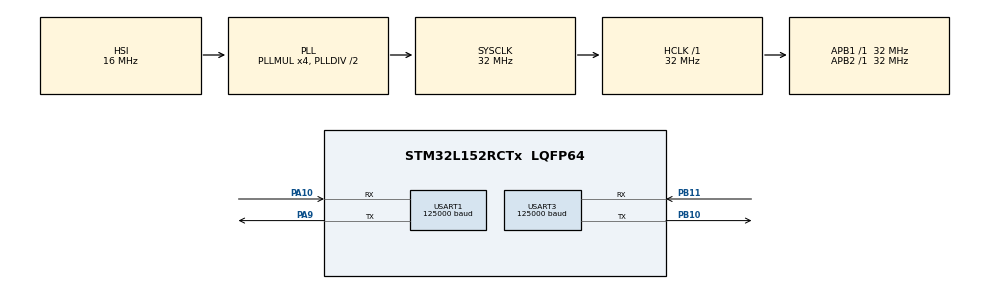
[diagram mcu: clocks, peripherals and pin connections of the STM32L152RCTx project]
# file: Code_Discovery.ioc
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ADC.Channel-0\#ChannelRegularConversion=ADC_CHANNEL_TEMPSENSOR
ADC.Channel-1\#ChannelRegularConversion=ADC_CHANNEL_VREFINT
ADC.ContinuousConvMode=ENABLE
ADC.DMAContinuousRequests=ENABLE
ADC.EOCSelection=ADC_EOC_SINGLE_CONV
ADC.NbrOfConversion=2
ADC.NbrOfConversionFlag=1
ADC.Rank-0\#ChannelRegularConversion=1
ADC.Rank-1\#ChannelRegularConversion=2
ADC.SamplingTime-0\#ChannelRegularConversion=ADC_SAMPLETIME_96CYCLES
ADC.SamplingTime-1\#ChannelRegularConversion=ADC_SAMPLETIME_192CYCLES
ADC.ScanConvMode=ADC_SCAN_ENABLE
Dma.ADC.2.Direction=DMA_PERIPH_TO_MEMORY
Dma.ADC.2.Instance=DMA1_Channel1
Dma.ADC.2.MemDataAlignment=DMA_MDATAALIGN_WORD
Dma.ADC.2.MemInc=DMA_MINC_ENABLE
Dma.ADC.2.Mode=DMA_CIRCULAR
Dma.ADC.2.PeriphDataAlignment=DMA_PDATAALIGN_WORD
Dma.ADC.2.PeriphInc=DMA_PINC_DISABLE
Dma.ADC.2.Priority=DMA_PRIORITY_HIGH
Dma.Request0=USART1_RX
Dma.Request1=USART3_RX
Dma.Request2=ADC
Dma.USART1_RX.0.Direction=DMA_PERIPH_TO_MEMORY
Dma.USART1_RX.0.Instance=DMA1_Channel5
Dma.USART1_RX.0.MemDataAlignment=DMA_MDATAALIGN_BYTE
Dma.USART1_RX.0.MemInc=DMA_MINC_ENABLE
Dma.USART1_RX.0.Mode=DMA_NORMAL
Dma.USART1_RX.0.PeriphDataAlignment=DMA_PDATAALIGN_BYTE
Dma.USART1_RX.0.PeriphInc=DMA_PINC_DISABLE
Dma.USART1_RX.0.Priority=DMA_PRIORITY_MEDIUM
Dma.USART3_RX.1.Direction=DMA_PERIPH_TO_MEMORY
Dma.USART3_RX.1.Instance=DMA1_Channel3
Dma.USART3_RX.1.MemDataAlignment=DMA_MDATAALIGN_BYTE
Dma.USART3_RX.1.MemInc=DMA_MINC_ENABLE
Dma.USART3_RX.1.Mode=DMA_NORMAL
Dma.USART3_RX.1.PeriphDataAlignment=DMA_PDATAALIGN_BYTE
Dma.USART3_RX.1.PeriphInc=DMA_PINC_DISABLE
Dma.USART3_RX.1.Priority=DMA_PRIORITY_LOW
Mcu.Family=STM32L1
Mcu.Name=STM32L152RCTx
Mcu.Package=LQFP64
NVIC.ADC1_IRQn=true\:0\:0\:false\:false\:true\:true\:true\:true
NVIC.DMA1_Channel1_IRQn=true\:0\:0\:false\:false\:true\:false\:true\:true
NVIC.DMA1_Channel3_IRQn=true\:0\:0\:false\:false\:true\:false\:true\:true
NVIC.DMA1_Channel5_IRQn=true\:0\:0\:false\:false\:true\:false\:true\:true
NVIC.PriorityGroup=NVIC_PRIORITYGROUP_4
NVIC.USART1_IRQn=true\:0\:0\:false\:false\:true\:true\:true\:true
NVIC.USART3_IRQn=true\:0\:0\:false\:false\:true\:true\:true\:true
PA10.Mode=Asynchronous
PA10.Signal=USART1_RX
PA9.Mode=Asynchronous
PA9.Signal=USART1_TX
PB10.Mode=Asynchronous
PB10.Signal=USART3_TX
PB11.Mode=Asynchronous
PB11.Signal=USART3_RX
ProjectManager.HeapSize=0x200
ProjectManager.StackSize=0x400
ProjectManager.TargetToolchain=STM32CubeIDE
RCC.48MHZClocksFreq_Value=32000000
RCC.AHBFreq_Value=32000000
RCC.APB1Freq_Value=32000000
RCC.APB1TimFreq_Value=32000000
RCC.APB2Freq_Value=32000000
RCC.APB2TimFreq_Value=32000000
RCC.HCLKFreq_Value=32000000
RCC.HSE_VALUE=24000000
RCC.HSI_VALUE=16000000
RCC.LSE_VALUE=32768
RCC.MSI_VALUE=2097000
RCC.PLLMUL=RCC_PLL_MUL4
RCC.SYSCLKFreq_VALUE=32000000
RCC.SYSCLKSource=RCC_SYSCLKSOURCE_PLLCLK
RCC.VCOOutputFreq_Value=64000000
USART1.BaudRate=125000
USART1.VirtualMode=VM_ASYNC
USART3.BaudRate=125000
USART3.VirtualMode=VM_ASYNC
VP_ADC_TempSens_Input.Mode=IN-TempSens
VP_ADC_Vref_Input.Mode=IN-Vrefint
board=custom

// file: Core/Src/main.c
/* USER CODE BEGIN Header */
/**
 ******************************************************************************
 * @file           : main.c
 * @brief          : Main program body
 ******************************************************************************
 * @attention
 *
 * Copyright (c) 2022 STMicroelectronics.
 * All rights reserved.
 *
 * This software is licensed under terms that can be found in the LICENSE file
 * in the root directory of this software component.
 * If no LICENSE file comes with this software, it is provided AS-IS.
 *
 ******************************************************************************
 */
/* USER CODE END Header */
#include "main.h"

/* USER CODE BEGIN Includes */
#include "sramplatform.h"
#include "sramconf.h"
/* USER CODE END Includes */

ADC_HandleTypeDef hadc;
DMA_HandleTypeDef hdma_adc;

UART_HandleTypeDef huart1;
UART_HandleTypeDef huart3;
DMA_HandleTypeDef hdma_usart1_rx;
DMA_HandleTypeDef hdma_usart3_rx;

void SystemClock_Config(void);
static void MX_GPIO_Init(void);
static void MX_DMA_Init(void);
static void MX_ADC_Init(void);
static void MX_USART1_UART_Init(void);
static void MX_USART3_UART_Init(void);

/* USER CODE BEGIN 0 */
// https://stackoverflow.com/questions/48561217/how-to-get-value-of-variable-defined-in-ld-linker-script-from-c
extern uint32_t g_pfnVectors[];

/// Start of the SRAM Memory
uint8_t *SRAM_START = (uint8_t*) SRAM_ADDRESS;

/// Start of the WRITE Buffer
uint8_t *SRC_BUF = (uint8_t*) (SRAM_ADDRESS + (SRC_BUF_OFFSET * DATA_SIZE));

/// Start of the WRITE Buffer
int32_t *WRITE_BUF = (int32_t*) (SRAM_ADDRESS + (WRITE_BUF_OFFSET * DATA_SIZE));

/// String representation of the device id.
char UID[UID_SIZE] = { 0 };

packet_t packet;

/// Pointer to circular write buffer
uint32_t write_pos = 0;

/// Buffer for the temperature and voltage sensors.
uint32_t sensors[2] = { 0 };

uint16_t *vdd_cal = (uint16_t*) VDD_CAL_ADDRESS;
uint16_t *temp30_cal = (uint16_t*) TEMP30_CAL_ADDRESS;
uint16_t *temp110_cal = (uint16_t*) TEMP110_CAL_ADDRESS;

/// Number of bytes received.
int bytes_rx = 0;

/// Buffer to receive data from up the chain.
uint8_t buffer[PACKET_SIZE];

/// Buffer to received data from down the chain.
uint8_t transport_buffer[PACKET_SIZE];

extern uint32_t write_pos;
uint16_t checksum;

uint16_t crc16(uint16_t crc, uint8_t *buffer, size_t len) {
	while (len--)
		crc = crc16_byte(crc, *buffer++);
	return crc;
}
/* USER CODE END 0 */

int main(void) {
	/* USER CODE BEGIN 1 */
	init_interpreter();
	/* USER CODE END 1 */

	/* MCU Configuration--------------------------------------------------------*/

	/* Reset of all peripherals, Initializes the Flash interface and the Systick. */
	HAL_Init();

	/* USER CODE BEGIN Init */
	const uint32_t sram_end = (uint32_t) g_pfnVectors[0];
	const uint32_t sram_size = sram_end - (uint32_t) SRAM_START;
	/* USER CODE END Init */

	/* Configure the system clock */
	SystemClock_Config();

	/* Initialize all configured peripherals */
	MX_GPIO_Init();
	MX_DMA_Init();
	MX_ADC_Init();
	MX_USART1_UART_Init();
	MX_USART3_UART_Init();
	/* USER CODE BEGIN 2 */

	collect_bid(UID);

	// Initialization of peripherals
	__HAL_ADC_ENABLE(&hadc);
	HAL_ADC_Start_DMA(&hadc, sensors, 2);

	RESET_UPWARDS();
	RESET_DOWNWARDS();
	/* USER CODE END 2 */

	/* Infinite loop */
	/* USER CODE BEGIN WHILE */
	while (1) {
		if (bytes_rx < PACKET_SIZE)
			continue;

		// Reset read counter
		bytes_rx = 0;

		uint16_t temp = sensors[0];
		uint16_t vdd = sensors[1];

		packet = parse_packet(buffer);
		packet.pic += 1;

		buffer[PACKET_SIZE - 2] = 0;
		buffer[PACKET_SIZE - 1] = 0;

		checksum = crc16(0, buffer, PACKET_SIZE);

		if (checksum != packet.checksum) {
			packet.command = ERR;
			packet.options = 1; // Checksum didn't match
			packet.checksum = make_crc(&packet, buffer);
			send_packet(&huart1, &packet);
			RESET_UPWARDS();
		}
		/* USER CODE END WHILE */

		/* USER CODE BEGIN 3 */
		switch (packet.command) {
		case (PING):

			switch (packet.options) {
			case OWN:
				if (STR_MATCH(UID, packet.uid)) {
					packet.options = sram_size;
					packet.command = ACK;
					packet.checksum = make_crc(&packet, buffer);
					send_packet(&huart1, &packet);
				} else {
					send_packet(&huart3, &packet);
					RESET_DOWNWARDS();
				}
				RESET_UPWARDS()
				break;
			case ALL:
				strcpy(packet.uid, UID);
				packet.options = sram_size;
				packet.command = ACK;
				packet.checksum = make_crc(&packet, buffer);
				send_packet(&huart1, &packet);
				RESET_UPWARDS()

				packet.command = PING;
				packet.options = ALL;
				packet.checksum = make_crc(&packet, buffer);
				send_packet(&huart3, &packet);
				RESET_DOWNWARDS()
				break;
			}
			continue;

		case (READ):
			if (!STR_MATCH(UID, packet.uid)) {
				packet.checksum = make_crc(&packet, buffer);
				send_packet(&huart3, &packet);
				RESET_DOWNWARDS()
				RESET_UPWARDS()
				continue;
			}

			packet.command = ACK;
			read_sram(packet.options, packet.data);
			packet.checksum = make_crc(&packet, buffer);
			send_packet(&huart1, &packet);
			RESET_UPWARDS()
			break;

		case (WRITE):
			if (!STR_MATCH(UID, packet.uid)) {
				packet.checksum = make_crc(&packet, buffer);
				send_packet(&huart3, &packet);
				RESET_DOWNWARDS()
				RESET_UPWARDS()
				continue;
			}
			write_sram(packet.options, packet.data);
			packet.command = ACK;
			packet.checksum = make_crc(&packet, buffer);
			send_packet(&huart1, &packet);
			RESET_UPWARDS()
			break;

		case (SENSORS):
			if (!STR_MATCH(UID, packet.uid)) {
				packet.checksum = make_crc(&packet, buffer);
				send_packet(&huart3, &packet);
				RESET_DOWNWARDS()
				RESET_UPWARDS();
				continue;
			}
			switch (packet.options) {
			case ALL:
				packet.data[0] = *temp110_cal & 0xFF;
				packet.data[1] = (*temp110_cal >> 8) & 0xFF;

				packet.data[2] = *temp30_cal & 0xFF;
				packet.data[3] = (*temp30_cal >> 8) & 0xFF;

				packet.data[4] = temp & 0x00FF;
				packet.data[5] = (temp >> 8) & 0xFF;

				packet.data[6] = *vdd_cal & 0xFF;
				packet.data[7] = (*vdd_cal >> 8) & 0xFF;

				packet.data[8] = vdd & 0xFF;
				packet.data[9] = (vdd >> 8) & 0xFF;
				break;
			case TEMP:
				packet.data[0] = *temp110_cal & 0xFF;
				packet.data[1] = (*temp110_cal >> 8) & 0xFF;

				packet.data[2] = *temp30_cal & 0xFF;
				packet.data[3] = (*temp30_cal >> 8) & 0xFF;

				packet.data[4] = temp & 0x00FF;
				packet.data[5] = (temp >> 8) & 0xFF;
				break;
			case VDD:
				packet.data[0] = *vdd_cal & 0xFF;
				packet.data[1] = (*vdd_cal >> 8) & 0xFF;

				packet.data[2] = vdd & 0xFF;
				packet.data[3] = (vdd >> 8) & 0xFF;
				break;
			}
			packet.command = ACK;
			packet.checksum = make_crc(&packet, buffer);
			send_packet(&huart1, &packet);
			RESET_UPWARDS()
			break;

			// Load source code into SRC_BUF
		case (LOAD):
			if (STR_MATCH(UID, packet.uid)) {
				memcpy(SRC_BUF + (DATA_SIZE * packet.options), packet.data,
						DATA_SIZE);
				packet.command = ACK;
				packet.checksum = make_crc(&packet, buffer);
				send_packet(&huart1, &packet);
				RESET_UPWARDS()
			} else {
				packet.checksum = make_crc(&packet, buffer);
				send_packet(&huart3, &packet);
				RESET_DOWNWARDS()
				RESET_UPWARDS()
			}
			break;

			// Execute the code in the given address
			// Results are stored to a region of FLASH
		case (EXEC):
			if (STR_MATCH(UID, packet.uid)) {
				if (packet.options == 1) {
					write_pos = 0;
				}
				packet.options = eval_cmd((char*) SRC_BUF);
				packet.command = ACK;
				packet.checksum = make_crc(&packet, buffer);
				send_packet(&huart1, &packet);
				RESET_UPWARDS()
			} else {
				packet.checksum = make_crc(&packet, buffer);
				send_packet(&huart3, &packet);
				RESET_DOWNWARDS()
				RESET_UPWARDS()
			}
			break;

			// Retrieve results from the RETR Buffer
		case (RETR):
			if (STR_MATCH(UID, packet.uid)) {
				memcpy(packet.data, WRITE_BUF + (DATA_SIZE * packet.options),
						DATA_SIZE);
				packet.command = ACK;
				packet.checksum = make_crc(&packet, buffer);
				send_packet(&huart1, &packet);
				RESET_UPWARDS()
			} else {
				packet.checksum = make_crc(&packet, buffer);
				send_packet(&huart3, &packet);
				RESET_DOWNWARDS()
				RESET_UPWARDS()
			}
			break;

			// We are not supposed to get ERR from upwards
			// So resend the message up
		case (ERR):
		default:
			packet.checksum = make_crc(&packet, buffer);
			send_packet(&huart1, &packet);
			RESET_UPWARDS()
			break;
		}
	}
	/* USER CODE END 3 */
}

void SystemClock_Config(void) {
	RCC_OscInitTypeDef RCC_OscInitStruct = { 0 };
	RCC_ClkInitTypeDef RCC_ClkInitStruct = { 0 };

	/** Configure the main internal regulator output voltage
	 */
	__HAL_PWR_VOLTAGESCALING_CONFIG(PWR_REGULATOR_VOLTAGE_SCALE1);

	/** Initializes the RCC Oscillators according to the specified parameters
	 * in the RCC_OscInitTypeDef structure.
	 */
	RCC_OscInitStruct.OscillatorType = RCC_OSCILLATORTYPE_HSI;
	RCC_OscInitStruct.HSIState = RCC_HSI_ON;
	RCC_OscInitStruct.HSICalibrationValue = RCC_HSICALIBRATION_DEFAULT;
	RCC_OscInitStruct.PLL.PLLState = RCC_PLL_ON;
	RCC_OscInitStruct.PLL.PLLSource = RCC_PLLSOURCE_HSI;
	RCC_OscInitStruct.PLL.PLLMUL = RCC_PLL_MUL4;
	RCC_OscInitStruct.PLL.PLLDIV = RCC_PLL_DIV2;
	if (HAL_RCC_OscConfig(&RCC_OscInitStruct) != HAL_OK) {
		Error_Handler();
	}

	/** Initializes the CPU, AHB and APB buses clocks
	 */
	RCC_ClkInitStruct.ClockType = RCC_CLOCKTYPE_HCLK | RCC_CLOCKTYPE_SYSCLK
			| RCC_CLOCKTYPE_PCLK1 | RCC_CLOCKTYPE_PCLK2;
	RCC_ClkInitStruct.SYSCLKSource = RCC_SYSCLKSOURCE_PLLCLK;
	RCC_ClkInitStruct.AHBCLKDivider = RCC_SYSCLK_DIV1;
	RCC_ClkInitStruct.APB1CLKDivider = RCC_HCLK_DIV1;
	RCC_ClkInitStruct.APB2CLKDivider = RCC_HCLK_DIV1;

	if (HAL_RCC_ClockConfig(&RCC_ClkInitStruct, FLASH_LATENCY_1) != HAL_OK) {
		Error_Handler();
	}
}

static void MX_ADC_Init(void) {

	ADC_ChannelConfTypeDef sConfig = { 0 };

	/** Configure the global features of the ADC (Clock, Resolution, Data Alignment and number of conversion)
	 */
	hadc.Instance = ADC1;
	hadc.Init.ClockPrescaler = ADC_CLOCK_ASYNC_DIV1;
	hadc.Init.Resolution = ADC_RESOLUTION_12B;
	hadc.Init.DataAlign = ADC_DATAALIGN_RIGHT;
	hadc.Init.ScanConvMode = ADC_SCAN_ENABLE;
	hadc.Init.EOCSelection = ADC_EOC_SINGLE_CONV;
	hadc.Init.LowPowerAutoWait = ADC_AUTOWAIT_DISABLE;
	hadc.Init.LowPowerAutoPowerOff = ADC_AUTOPOWEROFF_DISABLE;
	hadc.Init.ChannelsBank = ADC_CHANNELS_BANK_A;
	hadc.Init.ContinuousConvMode = ENABLE;
	hadc.Init.NbrOfConversion = 2;
	hadc.Init.DiscontinuousConvMode = DISABLE;
	hadc.Init.ExternalTrigConv = ADC_SOFTWARE_START;
	hadc.Init.ExternalTrigConvEdge = ADC_EXTERNALTRIGCONVEDGE_NONE;
	hadc.Init.DMAContinuousRequests = ENABLE;
	if (HAL_ADC_Init(&hadc) != HAL_OK) {
		Error_Handler();
	}

	/** Configure for the selected ADC regular channel its corresponding rank in the sequencer and its sample time.
	 */
	sConfig.Channel = ADC_CHANNEL_TEMPSENSOR;
	sConfig.Rank = ADC_REGULAR_RANK_1;
	sConfig.SamplingTime = ADC_SAMPLETIME_96CYCLES;
	if (HAL_ADC_ConfigChannel(&hadc, &sConfig) != HAL_OK) {
		Error_Handler();
	}

	/** Configure for the selected ADC regular channel its corresponding rank in the sequencer and its sample time.
	 */
	sConfig.Channel = ADC_CHANNEL_VREFINT;
	sConfig.Rank = ADC_REGULAR_RANK_2;
	sConfig.SamplingTime = ADC_SAMPLETIME_192CYCLES;
	if (HAL_ADC_ConfigChannel(&hadc, &sConfig) != HAL_OK) {
		Error_Handler();
	}

}

static void MX_USART1_UART_Init(void) {

	huart1.Instance = USART1;
	huart1.Init.BaudRate = 125000;
	huart1.Init.WordLength = UART_WORDLENGTH_8B;
	huart1.Init.StopBits = UART_STOPBITS_1;
	huart1.Init.Parity = UART_PARITY_NONE;
	huart1.Init.Mode = UART_MODE_TX_RX;
	huart1.Init.HwFlowCtl = UART_HWCONTROL_NONE;
	huart1.Init.OverSampling = UART_OVERSAMPLING_16;
	if (HAL_UART_Init(&huart1) != HAL_OK) {
		Error_Handler();
	}

}

static void MX_USART3_UART_Init(void) {

	huart3.Instance = USART3;
	huart3.Init.BaudRate = 125000;
	huart3.Init.WordLength = UART_WORDLENGTH_8B;
	huart3.Init.StopBits = UART_STOPBITS_1;
	huart3.Init.Parity = UART_PARITY_NONE;
	huart3.Init.Mode = UART_MODE_TX_RX;
	huart3.Init.HwFlowCtl = UART_HWCONTROL_NONE;
	huart3.Init.OverSampling = UART_OVERSAMPLING_16;
	if (HAL_UART_Init(&huart3) != HAL_OK) {
		Error_Handler();
	}

}

static void MX_DMA_Init(void) {

	/* DMA controller clock enable */
	__HAL_RCC_DMA1_CLK_ENABLE();

	/* DMA interrupt init */
	/* DMA1_Channel1_IRQn interrupt configuration */
	HAL_NVIC_SetPriority(DMA1_Channel1_IRQn, 0, 0);
	HAL_NVIC_EnableIRQ(DMA1_Channel1_IRQn);
	/* DMA1_Channel3_IRQn interrupt configuration */
	HAL_NVIC_SetPriority(DMA1_Channel3_IRQn, 0, 0);
	HAL_NVIC_EnableIRQ(DMA1_Channel3_IRQn);
	/* DMA1_Channel5_IRQn interrupt configuration */
	HAL_NVIC_SetPriority(DMA1_Channel5_IRQn, 0, 0);
	HAL_NVIC_EnableIRQ(DMA1_Channel5_IRQn);

}

static void MX_GPIO_Init(void) {

	/* GPIO Ports Clock Enable */
	__HAL_RCC_GPIOB_CLK_ENABLE();
	__HAL_RCC_GPIOA_CLK_ENABLE();

}

/* USER CODE BEGIN 4 */
/// Calback upon finishing received data from USART
void HAL_UART_RxCpltCallback(UART_HandleTypeDef *huart) {
	if (huart->Instance == USART1) {
		bytes_rx += huart->RxXferSize;
	}
	if (huart->Instance == USART3) {
		send_buffer(&huart1, transport_buffer, PACKET_SIZE);
		HAL_UART_Receive_DMA(&huart3, transport_buffer, PACKET_SIZE);
	}
}
/* USER CODE END 4 */

void Error_Handler(void) {
	__disable_irq();
	while (1) {
	}
}
